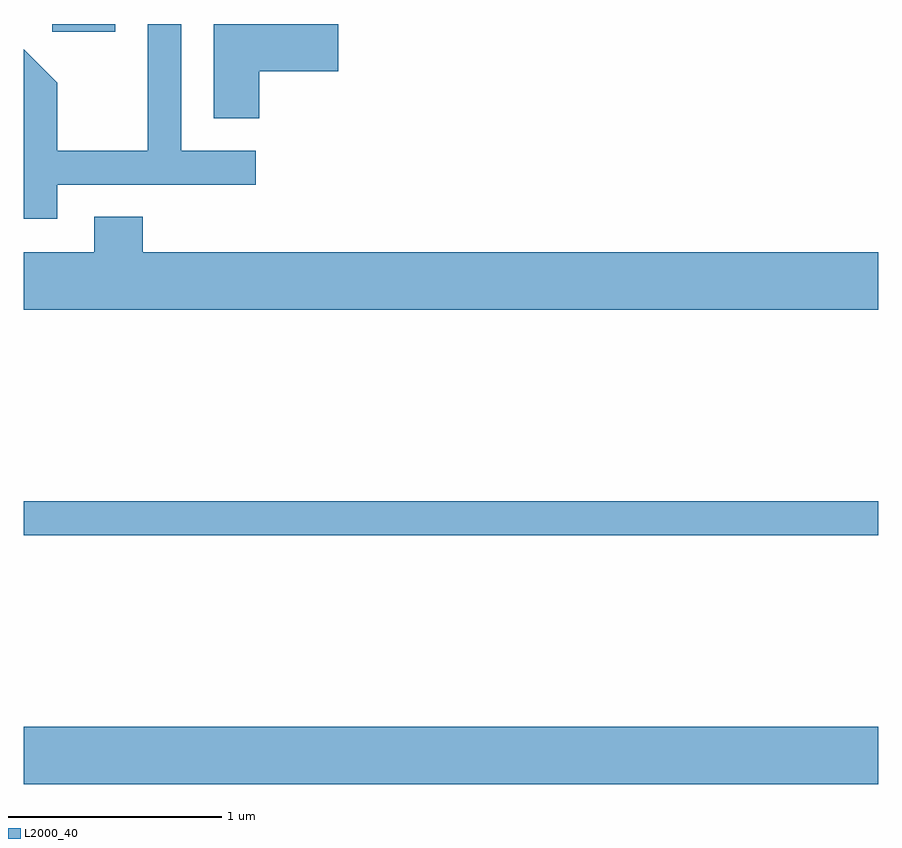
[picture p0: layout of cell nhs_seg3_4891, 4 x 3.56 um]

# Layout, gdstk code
import gdstk
lib = gdstk.Library(unit=1e-6, precision=1e-09)
def R(c, l, rs):  # rectangles x0, y0, x1, y1
    for r in rs: c.add(gdstk.rectangle(r[:2], r[2:], *l))
def P(c, l, *ps):  # polygons
    for p in ps: c.add(gdstk.Polygon(p, *l))
L2000_40 = (2000, 40)

nhs_seg3_4891 = lib.new_cell('nhs_seg3_4891')
R(nhs_seg3_4891, L2000_40, [(327.611,1250.336,331.611,1250.604), (327.611,1251.501,331.611,1251.659), (327.746,1253.856,328.039,1253.892)])
P(nhs_seg3_4891, L2000_40, [(327.769,1253.141),(328.698,1253.141),(328.698,1253.299),(328.349,1253.299),(328.349,1253.892),(328.191,1253.892),(328.191,1253.299),(327.769,1253.299),(327.769,1253.617),(327.611,1253.775),(327.611,1252.981),(327.769,1252.981)],
  [(328.714,1253.671),(329.084,1253.671),(329.084,1253.892),(328.501,1253.892),(328.501,1253.451),(328.714,1253.451)],
  [(331.611,1252.824),(328.169,1252.824),(328.169,1252.989),(327.941,1252.989),(327.941,1252.824),(327.611,1252.824),(327.611,1252.556),(331.611,1252.556)])

lib.write_gds('nhs_seg3_4891.gds')
